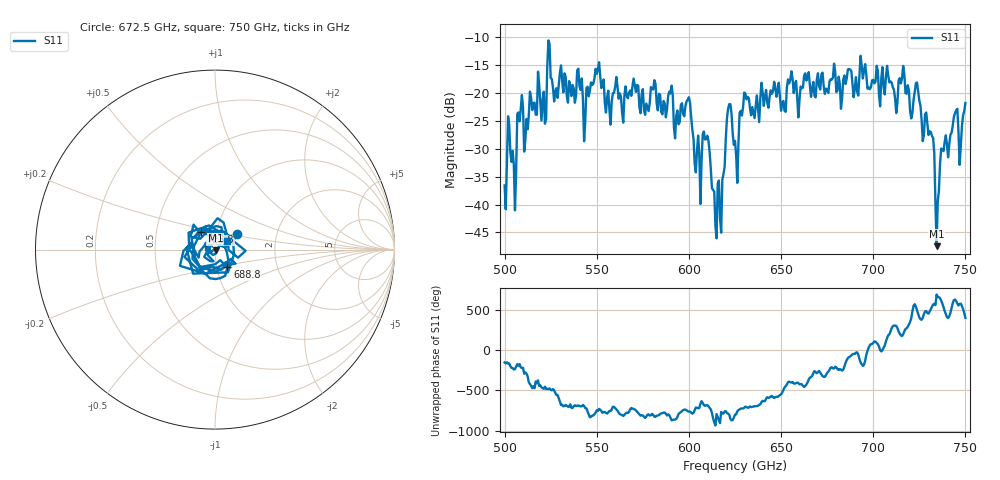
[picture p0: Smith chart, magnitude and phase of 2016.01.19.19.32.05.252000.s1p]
!Created with skrf (http://scikit-rf.org).
# GHz S RI R 50.0
!freq ReS11 ImS11
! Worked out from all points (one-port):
!   401 points, 500 GHz to 750 GHz, reference 50 ohm
!   lowest |S11| = -47.5 dB at 734.4 GHz (marker M1), VSWR 1.01, Z = 50.4 - j0.242 ohm
!   |S11| at or under -10 dB: start of sweep to end of sweep
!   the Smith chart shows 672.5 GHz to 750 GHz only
!   S11 on the Smith chart (normalised r, x): 672.5 GHz: 1.26, +0.23; 688.8 GHz: 1.13, -0.22; 723.8 GHz: 0.84, +0.16; 750 GHz: 1.13, +0.11
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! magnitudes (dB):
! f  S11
! 500 GHz  -36.6
! 503.1 GHz  -30.7
! 505 GHz  -32.9
! 508.1 GHz  -25.1
! 511.9 GHz  -24.6
! 521.2 GHz  -19.8
! 524.4 GHz  -11.2
! 531.2 GHz  -17.9
! 562.5 GHz  -20.1
! 590 GHz  -20.1
! 593.8 GHz  -23.2
! 599.4 GHz  -21.2
! 605 GHz  -27.6
! 609.4 GHz  -28.3
! 616.2 GHz  -35.7
! 621.9 GHz  -22.0
! 625 GHz  -28.6
! 631.2 GHz  -21.2
! 656.2 GHz  -17.5
! 672.5 GHz  -16.4
! 687.5 GHz  -15.8
! 688.8 GHz  -18.5
! 718.8 GHz  -18.6
! 723.8 GHz  -18.1
! 731.9 GHz  -27.7
! 734.4 GHz  -47.5
! 738.1 GHz  -30.4
! 750 GHz  -21.8
